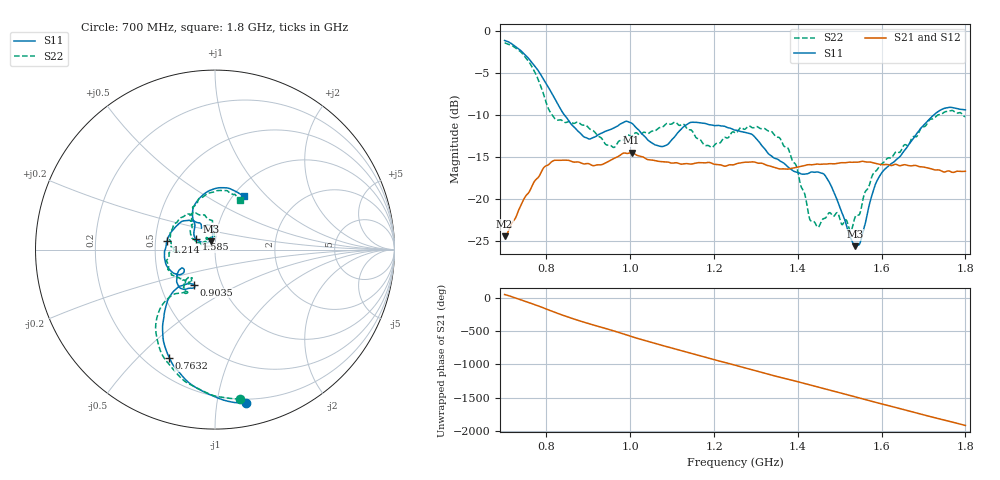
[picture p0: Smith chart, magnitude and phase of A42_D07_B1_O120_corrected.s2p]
! Created with skrf 1.9.0 (http://scikit-rf.org).
# Hz S RI R 50.0
!freq ReS11 ImS11 ReS21 ImS21 ReS12 ImS12 ReS22 ImS22
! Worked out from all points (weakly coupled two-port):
!   1601 points, 700 MHz to 1.8 GHz, reference 50 ohm
!   highest |S21| = -14.49 dB at 1.003 GHz (marker M1); lowest = -24.4 dB at 700 MHz (marker M2)
!   lowest |S11| = -25.6 dB at 1.537 GHz (marker M3), VSWR 1.11, Z = 47.6 + j4.51 ohm
!   |S11| at or under -10 dB: 842.3 MHz to 1.725 GHz (882.9 MHz wide, 68.8 % of centre)
!   |S22| runs from -23.9 to -1.5 dB; largest |S21 - S12| = 0.0035
!   S11 on the Smith chart (normalised r, x): 700 MHz: 0.17, -1.21; 763.2 MHz: 0.29, -0.62; 903.5 MHz: 0.74, -0.30; 1.214 GHz: 0.57, +0.06; 1.585 GHz: 0.80, +0.10; 1.8 GHz: 1.12, +0.75
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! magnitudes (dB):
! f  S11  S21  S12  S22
! 700 MHz  -1.2  -24.4  -24.2  -1.5
! 763.2 MHz  -3.7  -18.7  -18.7  -4.1
! 818.2 MHz  -7.9  -15.4  -15.5  -10.4
! 883.6 MHz  -12.3  -15.8  -15.7  -11.2
! 903.5 MHz  -12.9  -15.9  -15.8  -11.7
! 958.5 MHz  -11.6  -15.3  -15.3  -13.9
! 1.003 GHz  -11.0  -14.5  -14.6  -12.6
! 1.067 GHz  -13.7  -15.5  -15.5  -11.6
! 1.143 GHz  -10.9  -15.9  -15.8  -11.8
! 1.214 GHz  -11.3  -15.9  -15.9  -13.4
! 1.25 GHz  -11.8  -15.9  -15.8  -12.1
! 1.357 GHz  -15.5  -16.4  -16.4  -12.8
! 1.396 GHz  -16.8  -16.3  -16.3  -16.0
! 1.434 GHz  -16.8  -15.9  -15.9  -22.6
! 1.472 GHz  -17.8  -15.8  -15.8  -21.8
! 1.526 GHz  -24.6  -15.6  -15.6  -23.9
! 1.537 GHz  -25.6  -15.6  -15.6  -22.2
! 1.55 GHz  -24.9  -15.6  -15.6  -21.3
! 1.585 GHz  -18.2  -15.8  -15.8  -16.7
! 1.617 GHz  -16.1  -16.0  -15.9  -15.1
! 1.733 GHz  -9.7  -16.6  -16.6  -10.1
! 1.8 GHz  -9.4  -16.7  -16.7  -10.2
